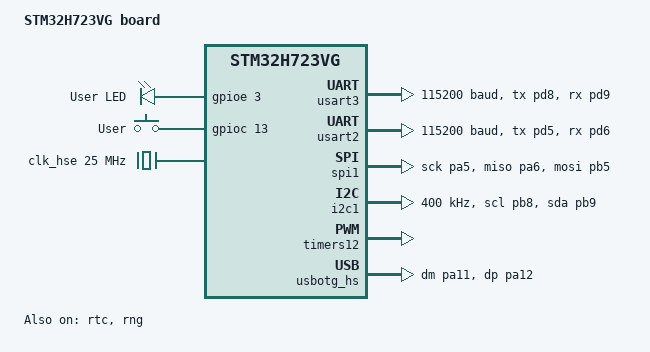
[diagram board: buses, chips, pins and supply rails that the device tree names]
/*
 * Copyright (c) 2024 Krzysztof Gawryś
 * SPDX-License-Identifier: Apache-2.0
 */

/dts-v1/;
#include <st/h7/stm32h723Xg.dtsi>
#include <st/h7/stm32h723vgtx-pinctrl.dtsi>
#include "arduino_r3_connector.dtsi"
#include <zephyr/dt-bindings/input/input-event-codes.h>

/ {
	model = "STM32H723VG board";
	compatible = "st,stm32h723vg";

	chosen {
		zephyr,console = &usart3;
		zephyr,shell-uart = &usart3;
		zephyr,dtcm = &dtcm;
		zephyr,sram = &sram0;
		zephyr,flash = &flash0;
	};

	leds: leds {
		compatible = "gpio-leds";
		led: led_0 {
			gpios = <&gpioe 3 GPIO_ACTIVE_HIGH>;
			label = "User LED";
		};
	};

	gpio_keys {
		compatible = "gpio-keys";
		user_button: button_0 {
			label = "User";
			gpios = <&gpioc 13 GPIO_ACTIVE_HIGH>;
			zephyr,code = <INPUT_KEY_0>;
		};
	};

	aliases {
		led = &led;
		sw = &user_button;
	};
};

&clk_hse {
	// hse-bypass;
	clock-frequency = <DT_FREQ_M(25)>; /* STLink 8MHz clock */
	status = "okay";
};

&clk_lse {
	driving-capability = <3>;
	status = "okay";
};

&pll {
	div-m = <2>;
	mul-n = <44>;
	div-p = <1>;
	div-q = <5>;
	div-r = <2>;
	clocks = <&clk_hse>;
	status = "okay";
};

&rcc {
	clocks = <&pll>;
	clock-frequency = <DT_FREQ_M(550)>;
	d1cpre = <1>;
	hpre = <2>;    /* HCLK: 275   MHz */
	d1ppre = <2>;  /* APB1: 137.5 MHz */
	d2ppre1 = <2>; /* APB2: 137.5 MHz */
	d2ppre2 = <2>; /* APB3: 137.5 MHz */
	d3ppre = <2>;  /* APB4: 137.5 MHz */
};

&usart3 {
	pinctrl-0 = <&usart3_tx_pd8 &usart3_rx_pd9>;
	pinctrl-names = "default";
	current-speed = <115200>;
	status = "okay";
};

&usart2 {
	pinctrl-0 = <&usart2_tx_pd5 &usart2_rx_pd6>;
	pinctrl-names = "default";
	current-speed = <115200>;
	status = "okay";
};

&rtc {
	clocks = <&rcc STM32_CLOCK_BUS_APB4 0x00010000>,
		 <&rcc STM32_SRC_LSI RTC_SEL(2)>;
	status = "okay";
};

&spi1 {
	status = "okay";
	pinctrl-0 = <&spi1_sck_pa5 &spi1_miso_pa6 &spi1_mosi_pb5>;
	pinctrl-names = "default";
	cs-gpios = <&gpiod 14 (GPIO_ACTIVE_LOW | GPIO_PULL_UP)>;
};

&i2c1 {
	pinctrl-0 = <&i2c1_scl_pb8 &i2c1_sda_pb9>;
	pinctrl-names = "default";
	status = "okay";
	clock-frequency = <I2C_BITRATE_FAST>;
};

&backup_sram {
	status = "okay";
};

&timers12 {
	st,prescaler = <10000>;
	status = "okay";

	pwm12: pwm {
		status = "okay";
		pinctrl-0 = <&tim12_ch1_pb14>;
		pinctrl-names = "default";
	};
};

zephyr_udc0: &usbotg_hs {
	pinctrl-0 = <&usb_otg_hs_dm_pa11 &usb_otg_hs_dp_pa12>;
	pinctrl-names = "default";
	status = "okay";
};

&rng {
	status = "okay";
};
